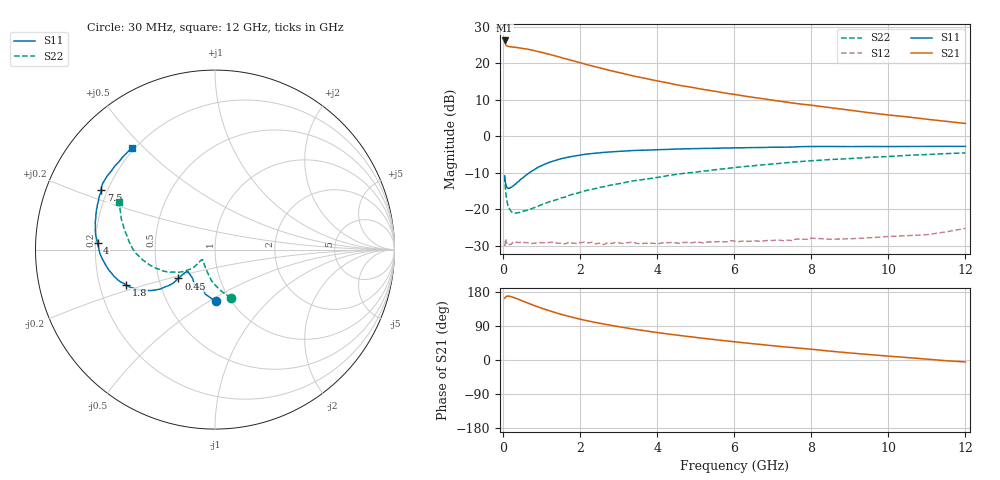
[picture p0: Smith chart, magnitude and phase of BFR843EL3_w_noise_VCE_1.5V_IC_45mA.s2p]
! Infineon Technologies  Discrete & RF Semiconductors
! BFR843EL3
! VCE =  1.5 V,  IC =  45 mA
! Common Emitter S-Parameters:  Aug 2013
# GHz  S  MA  R  50
!  f  S11  S21  S12  S22
! GHz  MAG  ANG  MAG  ANG  MAG  ANG  MAG  ANG
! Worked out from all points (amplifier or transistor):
!   103 points, 30 MHz to 12 GHz, reference 50 ohm
!   highest |S21| = 26.3 dB at 30 MHz (marker M1)
!   |S21| within 3 dB of that: start of sweep to 883.9 MHz
!   unconditionally stable (mu >= 1): 63.77 MHz to end of sweep
!   at 400 MHz: K = 1.10, MAG = 24.7 dB, |S12| = -29.1 dB
!   at 3.7 GHz: K = 1.29, MAG = 19.3 dB, |S12| = -29.2 dB
!   at 12 GHz: K = 2.04, MAG = 8.5 dB, |S12| = -25.2 dB
!   lowest NFmin = 1.64 dB at 450 MHz
!   S11 on the Smith chart (normalised r, x): 30 MHz: 0.85, -0.54; 450 MHz: 0.63, -0.22; 1.8 GHz: 0.31, -0.17; 4 GHz: 0.21, +0.03; 7.5 GHz: 0.18, +0.24; 12 GHz: 0.19, +0.46
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0.03  0.2891 -89.1  20.55 162.8  0.0314 30.5  0.2853 -71.7
0.04  0.2537 -102.4  19.26 164.0  0.0324 21.1  0.2316 -81.9
0.06  0.2245 -120.8  17.92 166.6  0.0397 13.6  0.172 -97.3
0.09  0.1994 -131.4  17.31 168.3  0.0351 11.0  0.1305 -109.7
0.13  0.1951 -139.2  16.99 168.6  0.0345 8.1  0.1074 -121.8
0.2  0.2 -141.9  16.79 167.2  0.0334 4.7  0.0935 -131.9
0.45  0.2595 -141.7  16.14 157.7  0.0355 2.8  0.0919 -142.4
0.7  0.3243 -142.0  15.33 147.6  0.034 2.7  0.1007 -142.7
1  0.3994 -145.8  14.06 136.4  0.0351 4.2  0.1167 -141.3
1.4  0.4776 -152.1  12.41 123.5  0.0345 4.6  0.137 -140.4
1.8  0.5332 -158.3  10.86 112.5  0.0345 5.6  0.1614 -140.4
2.1  0.5663 -162.5  9.819 105.2  0.0357 6.7  0.1789 -142.0
2.6  0.6035 -169.2  8.399 95.0  0.033 7.2  0.2039 -144.4
3  0.6233 -173.8  7.465 87.8  0.0348 8.8  0.2251 -146.6
4  0.6556 176.7  5.733 72.3  0.0336 11.4  0.2741 -152.8
4.1  0.6588 175.9  5.602 71.0  0.0348 12.0  0.2794 -153.1
5.1  0.6818 167.9  4.469 58.3  0.0355 15.5  0.329 -160.6
6.1  0.6973 161.0  3.678 47.0  0.0362 19.9  0.3792 -167.5
7.5  0.714 152.4  2.866 33.0  0.0373 25.0  0.4443 -177.8
8.5  0.7273 145.6  2.467 23.2  0.0391 24.2  0.482 174.5
10.5  0.7277 135.5  1.847 6.4  0.0437 35.8  0.5497 161.8
12  0.7297 129.4  1.502 -5.2  0.055 41.2  0.594 153.7
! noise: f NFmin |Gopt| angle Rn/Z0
0.45  1.64  0.27  181  0.12
0.9  1.67  0.29  182  0.12
1.5  1.68  0.3  183  0.11
1.9  1.69  0.31  -177  0.12
2.4  1.7  0.33  188  0.11
3.5  1.72  0.36  193  0.12
5.5  1.76  0.42  203  0.11
8  1.81  0.52  216  0.14
10  1.84  0.57  232  0.2
